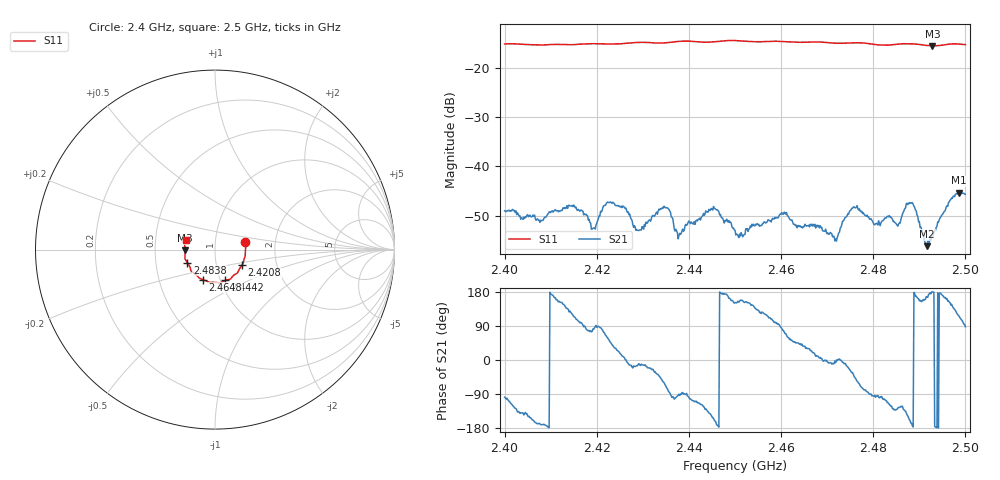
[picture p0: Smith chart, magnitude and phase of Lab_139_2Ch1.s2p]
# Hz S RI R 50
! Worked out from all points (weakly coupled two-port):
!   601 points, 2.4 GHz to 2.5 GHz, reference 50 ohm
!   highest |S21| = -45.32 dB at 2.4987 GHz (marker M1); lowest = -56.1 dB at 2.4917 GHz (marker M2)
!   lowest |S11| = -15.6 dB at 2.4928 GHz (marker M3), VSWR 1.40, Z = 35.8 - j0.343 ohm
!   |S11| at or under -10 dB: start of sweep to end of sweep
!   S12 and S22 are empty: the file has one direction only
!   S11 on the Smith chart (normalised r, x): 2.4 GHz: 1.40, +0.12; 2.4208 GHz: 1.33, -0.24; 2.4442 GHz: 1.05, -0.37; 2.4648 GHz: 0.83, -0.29; 2.4838 GHz: 0.73, -0.11; 2.5 GHz: 0.72, +0.08
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2.4e9  0.1679 0.0413  -0.000512 -0.00353  0 0  0 0
2.416667e9  0.1591 -0.068  -0.000498 0.00359  0 0  0 0
2.419333e9  0.1539 -0.0815  0.000345 0.00235  0 0  0 0
2.420833e9  0.1506 -0.0869  0.000296 0.00351  0 0  0 0
2.425833e9  0.1335 -0.1132  0.00391 0.000563  0 0  0 0
2.429e9  0.127 -0.127  0.00221 -0.000449  0 0  0 0
2.433333e9  0.1079 -0.1404  0.00277 -0.00221  0 0  0 0
2.437833e9  0.0888 -0.1612  -7.35e-06 -0.002  0 0  0 0
2.444167e9  0.0567 -0.1714  -0.00253 -0.00235  0 0  0 0
2.45e9  0.0246 -0.1859  -0.00198 0.00109  0 0  0 0
2.460667e9  -0.0387 -0.1788  0.000933 0.00333  0 0  0 0
2.464833e9  -0.0684 -0.167  0.00198 0.00146  0 0  0 0
2.466667e9  -0.08 -0.1628  0.0024 0.00102  0 0  0 0
2.471667e9  -0.1 -0.1453  0.00177 -9.12e-05  0 0  0 0
2.476e9  -0.1274 -0.1242  0.00265 -0.00278  0 0  0 0
2.483333e9  -0.1507 -0.0761  -0.00135 -0.0028  0 0  0 0
2.483833e9  -0.1534 -0.072  -0.00164 -0.00261  0 0  0 0
2.488333e9  -0.1676 -0.0466  -0.00416 -0.000962  0 0  0 0
2.491667e9  -0.1663 -0.0187  -0.00152 0.000359  0 0  0 0
2.492833e9  -0.1657 -0.00466  -0.00193 1.58e-05  0 0  0 0
2.498667e9  -0.1674 0.0432  -0.00234 0.00489  0 0  0 0
2.5e9  -0.1621 0.053  0.000208 0.00523  0 0  0 0
